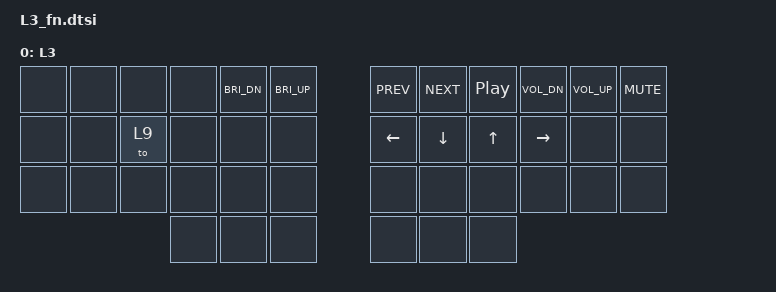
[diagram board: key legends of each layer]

/ {
  keymap {
    compatible = "zmk,keymap";

    l3_fn {
      label = "L3";
      bindings = <
//  ╭────────────────┬────────────────┬────────────────┬────────────────┬────────────────┬────────────────╮    ╭────────────────┬────────────────┬────────────────┬────────────────┬────────────────┬────────────────╮
//  │0               │1               │2               │3               │4               │5               │    │6               │7               │8               │9               │10              │11              │
     &none            &none            &none            &none            &kp C_BRI_DN     &kp C_BRI_UP          &kp C_PREV       &kp C_NEXT       &kp C_PP         &kp C_VOL_DN     &kp C_VOL_UP     &kp C_MUTE       
//  ├────────────────┼────────────────┼────────────────┼────────────────┼────────────────┼────────────────┤    ├────────────────┼────────────────┼────────────────┼────────────────┼────────────────┼────────────────┤
//  │12              │13              │14              │15              │16              │17              │    │18              │19              │20              │21              │22              │23              │
     &none            &none            &to L9           &none            &none            &none                 &kp LEFT         &kp DOWN         &kp UP           &kp RIGHT        &none            &none            
//  ├────────────────┼────────────────┼────────────────┼────────────────┼────────────────┼────────────────┤    ├────────────────┼────────────────┼────────────────┼────────────────┼────────────────┼────────────────┤
//  │24              │25              │26              │27              │28              │29              │    │30              │31              │32              │33              │34              │35              │
     &none            &none            &none            &none            &none            &none                 &none            &none            &none            &none            &none            &none            
//  ╰────────────────┴────────────────┴────────────────┼────────────────┼────────────────┼────────────────┤    ├────────────────┼────────────────┼────────────────┼────────────────┴────────────────┴────────────────╯
//                                                     │36              │37              │38              │    │39              │40              │41              │
                                                        &none            &none            &none                 &none            &none            &none            
//                                                     ╰────────────────┴────────────────┴────────────────╯    ╰────────────────┴────────────────┴────────────────╯
      >;
    };
  };
};
